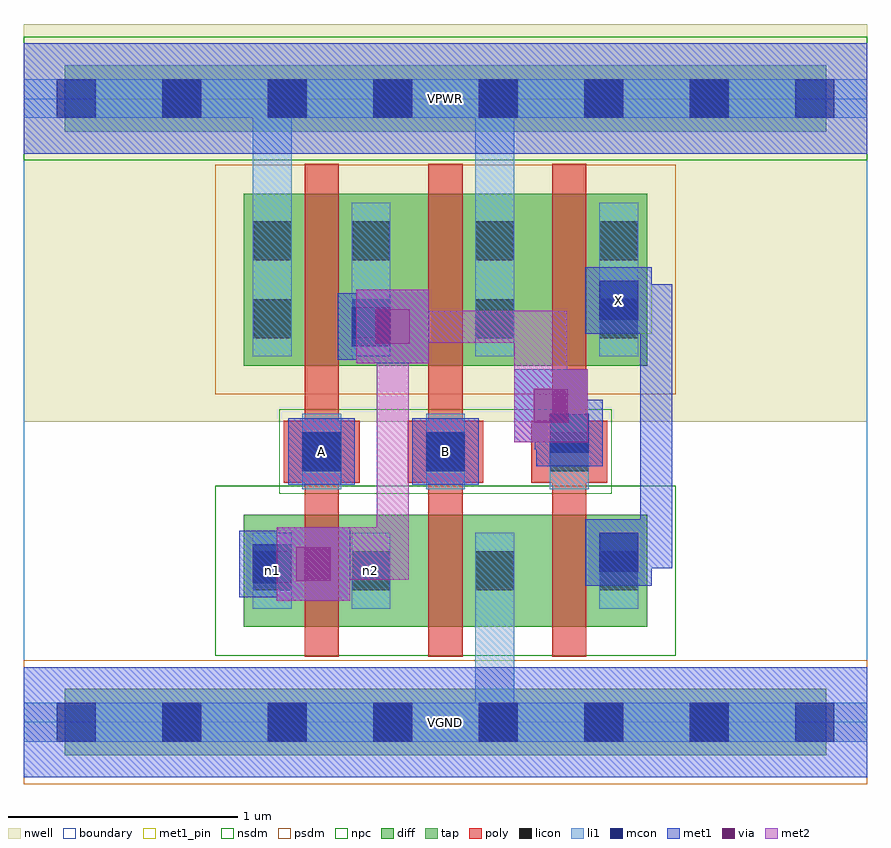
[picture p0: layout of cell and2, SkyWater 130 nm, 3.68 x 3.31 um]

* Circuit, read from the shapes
.subckt and2 A B VGND VPWR X n1 n2
XM1 n2 A n1 VGND sky130_fd_pr__nfet_01v8 w=0.49 l=0.15
XM2 VGND B n2 VGND sky130_fd_pr__nfet_01v8 w=0.49 l=0.15
XM3 X n1 VGND VGND sky130_fd_pr__nfet_01v8 w=0.49 l=0.15
XM4 n1 A VPWR VPWR sky130_fd_pr__pfet_01v8 w=0.75 l=0.15
XM5 VPWR B n1 VPWR sky130_fd_pr__pfet_01v8 w=0.75 l=0.15
XM6 X n1 VPWR VPWR sky130_fd_pr__pfet_01v8 w=0.75 l=0.15
.ends

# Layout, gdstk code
import gdstk
lib = gdstk.Library(unit=1e-6, precision=1e-09)
def R(c, l, rs):  # rectangles x0, y0, x1, y1
    for r in rs: c.add(gdstk.rectangle(r[:2], r[2:], *l))
def A(c, l, x, y, w, h, nx, ny, dx, dy):  # array of equal rectangles
    R(c, l, [(x+i*dx, y+j*dy, x+i*dx+w, y+j*dy+h) for i in range(nx) for j in range(ny)])
nwell = (64, 20)
diff = (65, 20)
tap = (65, 44)
poly = (66, 20)
licon = (66, 44)
li1 = (67, 20)
mcon = (67, 44)
met1_pin = (68, 16)
met1 = (68, 20)
via = (68, 44)
met2 = (69, 20)
nsdm = (93, 44)
psdm = (94, 20)
npc = (95, 20)
boundary = (235, 4)

and2 = lib.new_cell('and2')
R(and2, nwell, [(0,1.31,3.68,3.045)])
R(and2, diff, [(0.96,0.415,2.72,0.905), (0.96,1.555,2.72,2.305)])
R(and2, tap, [(0.18,-0.145,3.5,0.145), (0.18,2.575,3.5,2.865)])
A(and2, poly, 1.225, 0.285, 0.15, 2.15, 3, 1, 0.54, 0)
A(and2, poly, 1.135, 1.045, 0.33, 0.27, 3, 1, 0.54, 0)
A(and2, licon, 0.605, -0.085, 0.17, 0.17, 6, 2, 0.46, 2.72)
A(and2, licon, 1.43, 0.575, 0.17, 0.17, 3, 2, 0.54, 1.1)
A(and2, licon, 1.215, 1.095, 0.17, 0.17, 3, 1, 0.54, 0)
A(and2, licon, 1.43, 2.015, 0.17, 0.17, 3, 1, 0.54, 0)
R(and2, licon, [(1,0.575,1.17,0.745), (1,1.675,1.17,1.845), (1,2.015,1.17,2.185)])
A(and2, li1, 1.43, 0.495, 0.17, 0.33, 3, 1, 0.54, 0)
A(and2, li1, 1.215, 1.015, 0.17, 0.33, 3, 1, 0.54, 0)
A(and2, li1, 1.43, 1.595, 0.17, 0.67, 3, 1, 0.54, 0)
R(and2, li1, [(0,-0.085,3.68,0.085), (1.97,-0.085,2.14,0.825), (1,0.495,1.17,0.825), (1,1.595,1.17,2.265), (1,1.595,1.17,2.805), (1.97,1.595,2.14,2.805), (0,2.635,3.68,2.805)])
A(and2, mcon, 0.145, -0.085, 0.17, 0.17, 8, 2, 0.46, 2.72)
R(and2, mcon, [(1,0.605,1.17,0.775), (2.51,0.655,2.68,0.825), (1.215,1.095,1.385,1.265), (1.755,1.095,1.925,1.265), (2.295,1.175,2.465,1.345), (1.43,1.64,1.6,1.81), (2.51,1.755,2.68,1.925)])
R(and2, met1_pin, [(0,-0.24,3.68,0.24), (1.155,1.035,1.445,1.325), (1.695,1.035,1.985,1.325), (2.45,1.695,2.74,1.985), (0,2.48,3.68,2.96)])
R(and2, met1, [(0,-0.24,3.68,0.24), (1.105,0.53,1.425,0.85), (0.94,0.545,1.23,0.835), (2.45,0.595,2.74,0.885), (1.015,0.62,1.335,0.76), (2.525,0.67,2.83,0.81), (2.69,0.67,2.83,0.99), (2.69,0.85,2.83,1.91), (1.155,1.035,1.445,1.325), (1.695,1.035,1.985,1.325), (2.235,1.115,2.525,1.405), (2.23,1.19,2.45,1.33), (2.23,1.19,2.37,1.45), (2.14,1.22,2.46,1.54), (1.45,1.565,1.77,1.885), (1.37,1.58,1.66,1.87), (1.445,1.655,1.68,1.795), (2.45,1.695,2.74,1.985), (2.525,1.77,2.83,1.91), (0,2.48,3.68,2.96)])
R(and2, via, [(1.19,0.615,1.34,0.765), (2.225,1.305,2.375,1.455), (1.535,1.65,1.685,1.8)])
R(and2, met2, [(1.105,0.53,1.425,0.85), (1.195,0.62,1.68,0.76), (1.425,0.62,1.54,0.85), (1.54,0.62,1.68,1.795), (2.14,1.22,2.46,1.54), (2.23,1.31,2.37,1.795), (2.14,1.54,2.37,1.655), (1.45,1.565,1.77,1.885), (1.54,1.655,2.37,1.795)])
R(and2, nsdm, [(0.835,0.29,2.845,1.03), (0,2.45,3.68,2.99)])
R(and2, psdm, [(0,-0.27,3.68,0.27), (0.835,1.43,2.845,2.43)])
R(and2, npc, [(1.115,0.995,2.565,1.365)])
R(and2, boundary, [(0,0,3.68,2.72)])
and2.add(gdstk.Label('n1', (1.085,0.66), layer=67, texttype=5))
and2.add(gdstk.Label('n2', (1.515,0.66), layer=67, texttype=5))
and2.add(gdstk.Label('A', (1.3,1.18), layer=68, texttype=5))
and2.add(gdstk.Label('B', (1.84,1.18), layer=68, texttype=5))
and2.add(gdstk.Label('X', (2.595,1.84), layer=68, texttype=5))
and2.add(gdstk.Label('VPWR', (1.84,2.72), layer=68, texttype=5))
and2.add(gdstk.Label('VGND', (1.84,0), layer=68, texttype=5))
and2.add(gdstk.Label('A', (1.3,1.18), layer=68, texttype=16))
and2.add(gdstk.Label('B', (1.84,1.18), layer=68, texttype=16))
and2.add(gdstk.Label('X', (2.595,1.84), layer=68, texttype=16))
and2.add(gdstk.Label('VPWR', (1.84,2.72), layer=68, texttype=16))
and2.add(gdstk.Label('VGND', (1.84,0), layer=68, texttype=16))

lib.write_gds('and2.gds')
